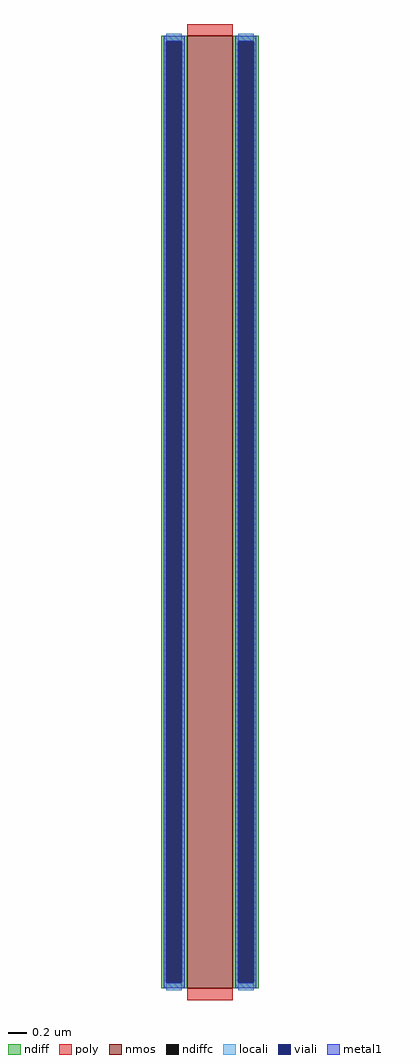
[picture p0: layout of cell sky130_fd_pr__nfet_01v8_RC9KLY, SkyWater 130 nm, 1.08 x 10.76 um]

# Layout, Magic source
magic
tech sky130A
<< nmos >>
rect -25 -525 25 525
<< ndiff >>
rect -54 519 -25 525
rect -54 -519 -48 519
rect -31 -519 -25 519
rect -54 -525 -25 -519
rect 25 519 54 525
rect 25 -519 31 519
rect 48 -519 54 519
rect 25 -525 54 -519
<< ndiffc >>
rect -48 -519 -31 519
rect 31 -519 48 519
<< poly >>
rect -25 525 25 538
rect -25 -538 25 -525
<< locali >>
rect -48 519 -31 527
rect -48 -527 -31 -519
rect 31 519 48 527
rect 31 -527 48 -519
<< viali >>
rect -48 -519 -31 519
rect 31 -519 48 519
<< metal1 >>
rect -51 519 -28 525
rect -51 -519 -48 519
rect -31 -519 -28 519
rect -51 -525 -28 -519
rect 28 519 51 525
rect 28 -519 31 519
rect 48 -519 51 519
rect 28 -525 51 -519
<< properties >>
string gencell sky130_fd_pr__nfet_01v8
string parameters w 10.5 l 0.5 m 1 nf 1 diffcov 100 polycov 100 guard 0 glc 1 grc 1 gtc 1 gbc 1 tbcov 100 rlcov 100 topc 0 botc 0 poverlap 0 doverlap 1 lmin 0.15 wmin 0.42 compatible {sky130_fd_pr__nfet_01v8 sky130_fd_pr__nfet_01v8_lvt  sky130_fd_bs_flash__special_sonosfet_star  sky130_fd_pr__nfet_g5v0d10v5 sky130_fd_pr__nfet_05v0_nvt  sky130_fd_pr__nfet_03v3_nvt} full_metal 1 viasrc 100 viadrn 100 viagate 100 viagb 0 viagr 0 viagl 0 viagt 0
string library sky130
<< end >>
